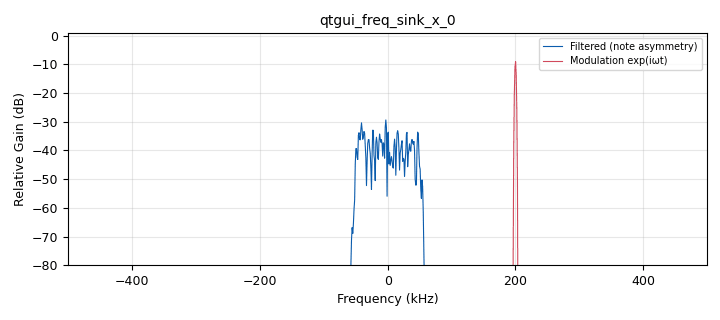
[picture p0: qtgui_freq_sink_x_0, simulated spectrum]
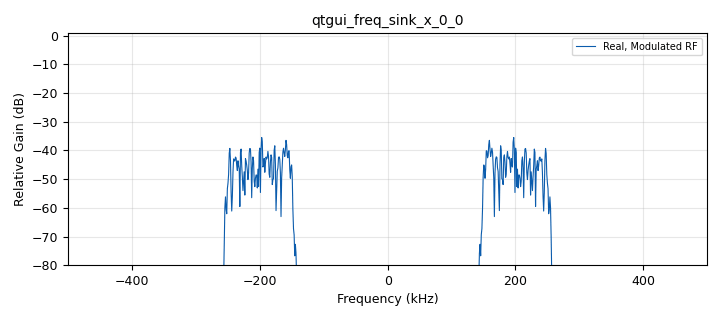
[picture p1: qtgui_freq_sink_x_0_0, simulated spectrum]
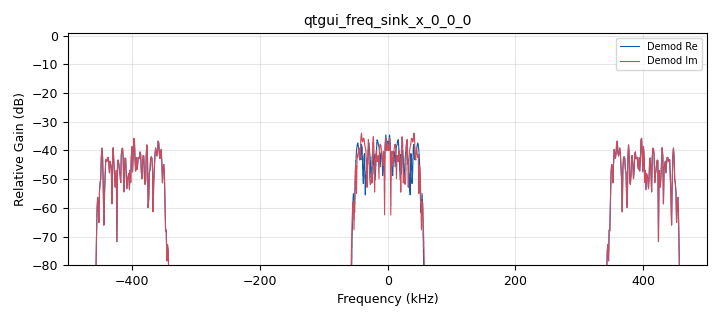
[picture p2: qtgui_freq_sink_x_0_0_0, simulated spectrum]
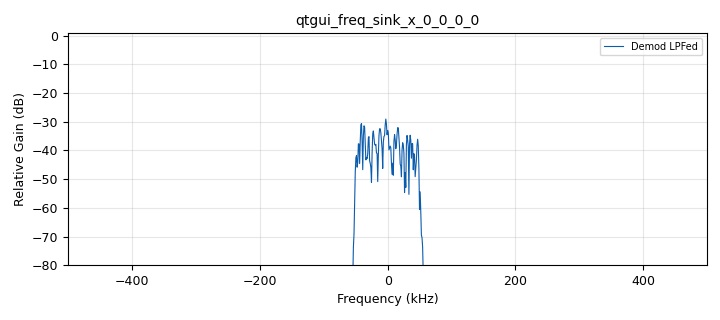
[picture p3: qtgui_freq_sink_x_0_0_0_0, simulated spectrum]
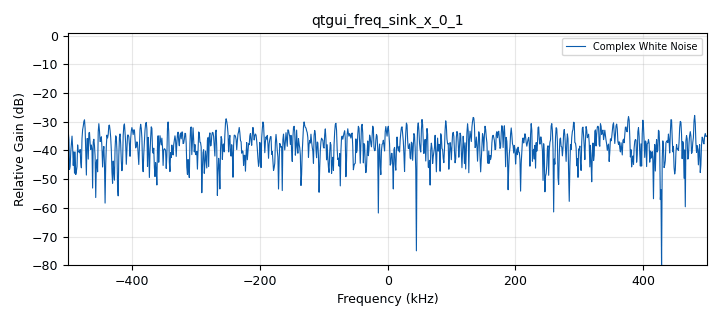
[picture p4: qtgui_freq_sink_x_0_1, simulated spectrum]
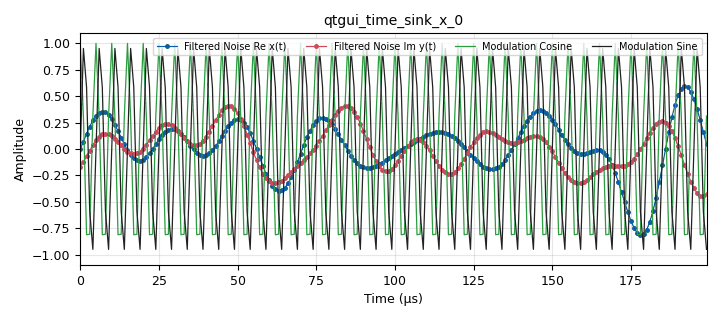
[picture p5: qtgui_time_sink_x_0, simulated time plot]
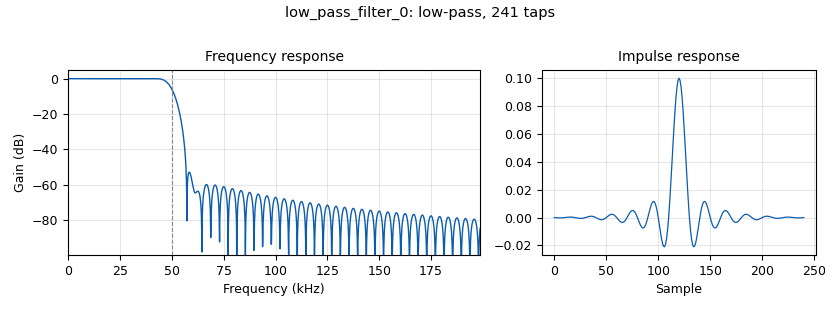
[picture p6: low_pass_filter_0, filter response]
options:
  parameters:
    author: jason
    generate_options: qt_gui
    id: basicSDR
    output_language: python
    title: Zero IF Modulation (What our SDRs do)
  states: {}

blocks:
- name: cutoff_freq_kHz
  id: variable_qtgui_range
  parameters:
    gui_hint: 0,0,1,2
    label: LPF Cutoff Frequency (kHz)
    start: '0'
    step: '1'
    stop: '500'
    value: '50'
  states: {}
- name: delay
  id: variable_qtgui_range
  parameters:
    gui_hint: 19,0,1,2
    label: Delay (samples)
    rangeType: int
    start: '0'
    step: '1'
    stop: '1000'
    value: '120'
  states: {}
- name: demodulation_freq_kHz
  id: variable_qtgui_range
  parameters:
    gui_hint: 18,0,1,2
    label: Deodulation Frequency (kHz)
    start: '-500'
    step: '1'
    stop: '500'
    value: '-200'
  states: {state: disabled}
- name: modulation_freq_kHz
  id: variable_qtgui_range
  parameters:
    gui_hint: 2,0,1,2
    label: Modulation Frequency (kHz)
    start: '-500'
    step: '1'
    stop: '500'
    value: '200'
  states: {}
- name: phase
  id: variable_qtgui_range
  parameters:
    gui_hint: 19,0,1,2
    label: Phase Shift (samples)
    rangeType: int
    start: '0'
    step: '1'
    stop: '20'
    value: '0'
  states: {state: disabled}
- name: samp_rate
  id: variable
  parameters:
    value: 1e6
  states: {}
- name: transition_width_kHz
  id: variable_qtgui_range
  parameters:
    gui_hint: 1,0,1,2
    label: LPF Transition Width (kHz)
    start: '0'
    step: '1'
    stop: '500'
    value: '10'
  states: {}
- name: analog_noise_source_x_0
  id: analog_noise_source_x
  parameters:
    amp: '1'
    comment: white Gaussian noise
    noise_type: analog.GR_GAUSSIAN
    seed: '0'
    type: complex
  states: {}
- name: analog_sig_source_x_0_0
  id: analog_sig_source_x
  parameters:
    amp: '1'
    comment: |-
      e^(iωt) = 
         cos(ωt) + i sin(ωt)
    freq: modulation_freq_kHz*1000
    offset: '0'
    phase: '0'
    samp_rate: samp_rate
    type: complex
    waveform: analog.GR_COS_WAVE
  states: {}
- name: analog_sig_source_x_0_0_0
  id: analog_sig_source_x
  parameters:
    amp: '2'
    comment: |-
      e^(-iωt) = 
         cos(ωt) - i sin(ωt)
    freq: demodulation_freq_kHz*1000
    offset: '0'
    phase: '0'
    samp_rate: samp_rate
    type: complex
    waveform: analog.GR_COS_WAVE
  states: {state: disabled}
- name: audio_sink_0
  id: audio_sink
  parameters:
    samp_rate: '48000'
  states: {}
- name: audio_sink_1
  id: audio_sink
  parameters:
    samp_rate: '48000'
  states: {state: disabled}
- name: audio_sink_2
  id: audio_sink
  parameters:
    samp_rate: '48000'
  states: {}
- name: blocks_complex_to_float_0
  id: blocks_complex_to_float
  parameters:
    comment: cos(ωt), sin(ωt)
  states: {}
- name: blocks_complex_to_float_0_0
  id: blocks_complex_to_float
  parameters:
    comment: x(t), y(t)
  states: {}
- name: blocks_complex_to_float_0_1
  id: blocks_complex_to_float
  parameters:
    comment: cos(ωt), -sin(ωt)
  states: {state: disabled}
- name: blocks_delay_0
  id: blocks_delay
  parameters:
    delay: delay
    type: complex
  states: {}
- name: blocks_delay_1
  id: blocks_delay
  parameters:
    comment: |-
      simulate a phase shift 
      on the receiver
      try 50kHz modulation 
      with a narrower LPF cutoff
    delay: phase
    type: complex
  states: {state: disabled}
- name: blocks_float_to_complex_0
  id: blocks_float_to_complex
  parameters:
    comment: x(t) + i y(t)
  states: {}
- name: blocks_multiply_const_vxx_0
  id: blocks_multiply_const_vxx
  parameters:
    comment: |-
      negative to take 
      complex conjugate
      resulting in -sin(ωt)
    const: '-2'
    type: float
  states: {}
- name: blocks_multiply_const_vxx_0_0
  id: blocks_multiply_const_vxx
  parameters:
    comment: |-
      factor of 2x to make 
      coefficients match: cos(ωt)
    const: '2'
    type: float
  states: {}
- name: blocks_multiply_xx_0
  id: blocks_multiply_xx
  parameters:
    comment: x(t)*cos(ωt)
    type: float
  states: {}
- name: blocks_multiply_xx_0_0
  id: blocks_multiply_xx
  parameters:
    comment: |-
      s cos(ωt) = 
      x + x cos(2ωt) - y cos(2ωt)
    type: float
  states: {}
- name: blocks_multiply_xx_0_1
  id: blocks_multiply_xx
  parameters:
    comment: y(t)*sin(ωt)
    type: float
  states: {}
- name: blocks_multiply_xx_0_1_0
  id: blocks_multiply_xx
  parameters:
    comment: |-
      s sin(-ωt) = 
      y - y cos(2ωt) - x sin(2ωt)
    type: float
  states: {}
- name: blocks_sub_xx_0
  id: blocks_sub_xx
  parameters:
    comment: |-
      the real transmitted 
      radio-frequency signal
      s = Re[ z(t) e^(+iωt) ]
         = x(t)*cos(ωt) 
           - y(t)*sin(ωt)
    type: float
  states: {}
- name: blocks_throttle_0
  id: blocks_throttle
  parameters:
    samples_per_second: samp_rate
    type: complex
  states: {}
- name: import_0
  id: import
  parameters:
    imports: import math
  states: {}
- name: low_pass_filter_0
  id: low_pass_filter
  parameters:
    comment: |-
      band-limited
      noise input
      z(t) = x(t) + i y(t)
    cutoff_freq: cutoff_freq_kHz*1000
    decim: '1'
    gain: '1'
    samp_rate: samp_rate
    type: fir_filter_ccf
    width: transition_width_kHz*1000
    win: window.WIN_HAMMING
  states: {}
- name: low_pass_filter_0_0
  id: low_pass_filter
  parameters:
    comment: |-
      x(t) after removing
      fast 2ωt terms
    cutoff_freq: cutoff_freq_kHz*1000
    decim: '1'
    gain: '1'
    samp_rate: samp_rate
    type: fir_filter_fff
    width: transition_width_kHz*1000
    win: window.WIN_HAMMING
  states: {}
- name: low_pass_filter_0_0_0
  id: low_pass_filter
  parameters:
    comment: |-
      y(t) after removing
      fast 2ωt terms
    cutoff_freq: cutoff_freq_kHz*1000
    decim: '1'
    gain: '1'
    samp_rate: samp_rate
    type: fir_filter_fff
    width: transition_width_kHz*1000
    win: window.WIN_HAMMING
  states: {}
- name: qtgui_freq_sink_x_0
  id: qtgui_freq_sink_x
  parameters:
    bw: samp_rate
    color2: '"green"'
    comment: |-
      input signal
      z(t) = x(t) + i y(t)
    fc: '0'
    fftsize: '1024'
    freqhalf: 'False'
    gui_hint: 6,1,3,1
    label1: Filtered (note asymmetry)
    label2: Modulation exp(iωt)
    name: ''
    nconnections: '2'
    type: complex
    ymax: '1'
    ymin: '-80'
  states: {}
- name: qtgui_freq_sink_x_0_0
  id: qtgui_freq_sink_x
  parameters:
    bw: samp_rate
    comment: |-
      real transmitted  signal
      s = x(t)*cos(ωt) - y(t)*sin(ωt)
    fc: '0'
    fftsize: '1024'
    gui_hint: 9,1,3,1
    label1: Real, Modulated RF
    type: float
    ymax: '1'
    ymin: '-80'
  states: {}
- name: qtgui_freq_sink_x_0_0_0
  id: qtgui_freq_sink_x
  parameters:
    alpha2: '0.5'
    bw: samp_rate
    comment: |-
      demodulated signal
      before filtering
    fc: '0'
    fftsize: '1024'
    gui_hint: 12,1,3,1
    label1: Demod Re
    label2: Demod Im
    nconnections: '2'
    type: float
    ymax: '1'
    ymin: '-80'
  states: {}
- name: qtgui_freq_sink_x_0_0_0_0
  id: qtgui_freq_sink_x
  parameters:
    bw: samp_rate
    color1: '"green"'
    comment: |-
      demodulated signal
      after filtering
      z(t) = x(t) + i y(t)  again
    fc: '0'
    fftsize: '1024'
    freqhalf: 'False'
    gui_hint: 15,1,3,1
    label1: Demod LPFed
    type: complex
    ymax: '1'
    ymin: '-80'
  states: {}
- name: qtgui_freq_sink_x_0_1
  id: qtgui_freq_sink_x
  parameters:
    bw: samp_rate
    fc: '0'
    fftsize: '1024'
    freqhalf: 'False'
    gui_hint: 3,1,3,1
    label1: Complex White Noise
    name: ''
    type: complex
    ymax: '1'
    ymin: '-80'
  states: {}
- name: qtgui_time_sink_x_0
  id: qtgui_time_sink_x
  parameters:
    entags: 'False'
    gui_hint: 6,0,3,1
    label1: Filtered Noise Re x(t)
    label2: Filtered Noise Im y(t)
    label3: Modulation Cosine
    label4: Modulation Sine
    marker1: '0'
    marker2: '0'
    name: ''
    nconnections: '2'
    size: '200'
    srate: samp_rate
    tr_mode: qtgui.TRIG_MODE_AUTO
    type: complex
    ymax: '1.1'
    ymin: '-1.1'
  states: {}
- name: qtgui_time_sink_x_0_0
  id: qtgui_time_sink_x
  parameters:
    gui_hint: 9,0,3,1
    label1: Real, Modulated RF
    size: '200'
    srate: samp_rate
    tr_mode: qtgui.TRIG_MODE_AUTO
    type: float
    ymax: '1.1'
    ymin: '-1.1'
  states: {}
- name: qtgui_time_sink_x_0_0_0
  id: qtgui_time_sink_x
  parameters:
    gui_hint: 12,0,3,1
    label1: Demod Re
    label2: Demod Im
    nconnections: '2'
    size: '200'
    srate: samp_rate
    tr_mode: qtgui.TRIG_MODE_AUTO
    type: float
    ymax: '1.1'
    ymin: '-1.1'
  states: {}
- name: qtgui_time_sink_x_0_0_0_0
  id: qtgui_time_sink_x
  parameters:
    gui_hint: 15,0,3,1
    label1: Input Re
    label2: Input Im
    label3: ' Demod LPFed Re'
    label4: ' Demod LPFed Im'
    nconnections: '2'
    size: '200'
    srate: samp_rate
    tr_mode: qtgui.TRIG_MODE_AUTO
    type: complex
    ymax: '1.1'
    ymin: '-1.1'
  states: {}
- name: qtgui_time_sink_x_0_1
  id: qtgui_time_sink_x
  parameters:
    entags: 'False'
    gui_hint: 3,0,3,1
    label1: White Noise Re
    label2: White Noise Im
    name: ''
    size: '200'
    srate: samp_rate
    tr_mode: qtgui.TRIG_MODE_AUTO
    type: complex
    ymax: '2.5'
    ymin: '-2.5'
  states: {}

connections:
- [analog_noise_source_x_0, '0', blocks_throttle_0, '0']
- [analog_sig_source_x_0_0, '0', blocks_complex_to_float_0, '0']
- [analog_sig_source_x_0_0, '0', qtgui_freq_sink_x_0, '1']
- [analog_sig_source_x_0_0, '0', qtgui_time_sink_x_0, '1']
- [analog_sig_source_x_0_0_0, '0', blocks_delay_1, '0']
- [blocks_complex_to_float_0, '0', blocks_multiply_const_vxx_0_0, '0']
- [blocks_complex_to_float_0, '0', blocks_multiply_xx_0, '1']
- [blocks_complex_to_float_0, '1', blocks_multiply_const_vxx_0, '0']
- [blocks_complex_to_float_0, '1', blocks_multiply_xx_0_1, '1']
- [blocks_complex_to_float_0_0, '0', audio_sink_2, '0']
- [blocks_complex_to_float_0_0, '0', blocks_multiply_xx_0, '0']
- [blocks_complex_to_float_0_0, '1', blocks_multiply_xx_0_1, '0']
- [blocks_complex_to_float_0_1, '0', blocks_multiply_xx_0_0, '1']
- [blocks_complex_to_float_0_1, '1', blocks_multiply_xx_0_1_0, '1']
- [blocks_delay_0, '0', qtgui_time_sink_x_0_0_0_0, '0']
- [blocks_delay_1, '0', blocks_complex_to_float_0_1, '0']
- [blocks_float_to_complex_0, '0', qtgui_freq_sink_x_0_0_0_0, '0']
- [blocks_float_to_complex_0, '0', qtgui_time_sink_x_0_0_0_0, '1']
- [blocks_multiply_const_vxx_0, '0', blocks_multiply_xx_0_1_0, '1']
- [blocks_multiply_const_vxx_0_0, '0', blocks_multiply_xx_0_0, '1']
- [blocks_multiply_xx_0, '0', blocks_sub_xx_0, '0']
- [blocks_multiply_xx_0_0, '0', low_pass_filter_0_0, '0']
- [blocks_multiply_xx_0_0, '0', qtgui_freq_sink_x_0_0_0, '0']
- [blocks_multiply_xx_0_0, '0', qtgui_time_sink_x_0_0_0, '0']
- [blocks_multiply_xx_0_1, '0', blocks_sub_xx_0, '1']
- [blocks_multiply_xx_0_1_0, '0', low_pass_filter_0_0_0, '0']
- [blocks_multiply_xx_0_1_0, '0', qtgui_freq_sink_x_0_0_0, '1']
- [blocks_multiply_xx_0_1_0, '0', qtgui_time_sink_x_0_0_0, '1']
- [blocks_sub_xx_0, '0', blocks_multiply_xx_0_0, '0']
- [blocks_sub_xx_0, '0', blocks_multiply_xx_0_1_0, '0']
- [blocks_sub_xx_0, '0', qtgui_freq_sink_x_0_0, '0']
- [blocks_sub_xx_0, '0', qtgui_time_sink_x_0_0, '0']
- [blocks_throttle_0, '0', low_pass_filter_0, '0']
- [blocks_throttle_0, '0', qtgui_freq_sink_x_0_1, '0']
- [blocks_throttle_0, '0', qtgui_time_sink_x_0_1, '0']
- [low_pass_filter_0, '0', blocks_complex_to_float_0_0, '0']
- [low_pass_filter_0, '0', blocks_delay_0, '0']
- [low_pass_filter_0, '0', qtgui_freq_sink_x_0, '0']
- [low_pass_filter_0, '0', qtgui_time_sink_x_0, '0']
- [low_pass_filter_0_0, '0', audio_sink_0, '0']
- [low_pass_filter_0_0, '0', blocks_float_to_complex_0, '0']
- [low_pass_filter_0_0_0, '0', audio_sink_1, '0']
- [low_pass_filter_0_0_0, '0', blocks_float_to_complex_0, '1']

metadata:
  file_format: 1
  grc_version: 3.10.9.2
